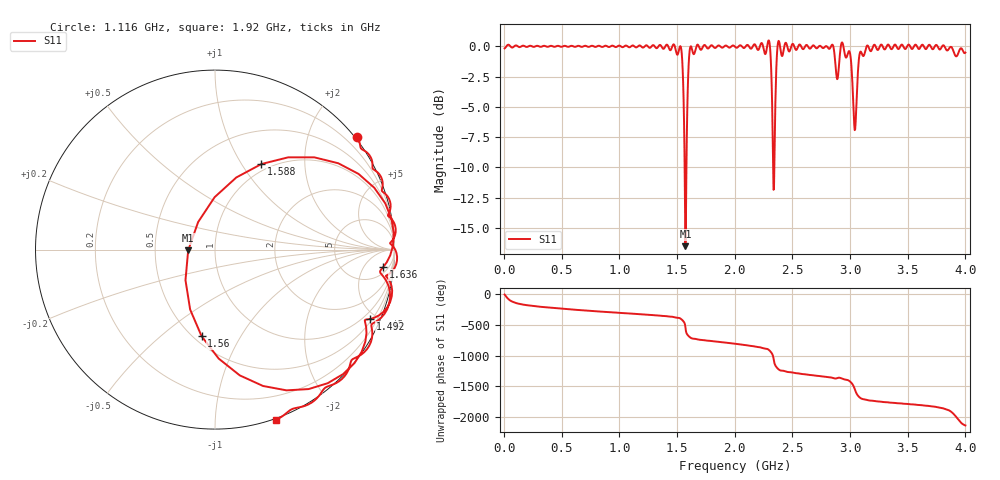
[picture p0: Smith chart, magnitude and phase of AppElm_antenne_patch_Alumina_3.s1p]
! TOUCHSTONE file generated by CST MICROWAVE STUDIO
! Date and time: Thu Jun  9 16:03:38 2022
! Project name: AppElm_antenne_patch_Alumina.cst
! Parameters = {L=30.5; W=41.8; e=0.035; h=1.6; lambda=0.190476; ls=76.5; w0=1.12; w1=0.373; ws=90; y0=14; y1=10}
! Header version: 2018
! Port assignment regex: !\s*Touchstone port\s*([0-9]+)\s*=\s*(CST MWS port|CST DS port)\s*([0-9]+|Zmin|Zmax)\s*\(\"(.*)\"\)(\s*mode\s*([0-9]+))?.*
! Touchstone port assignment:
! Touchstone port 1 = CST MWS port 1 ("")
# GHz S MA R 50
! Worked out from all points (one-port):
!   1000 points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, 4 MHz to 4 GHz, reference 50 ohm
!   lowest |S11| = -16.5 dB at 1.572 GHz (marker M1), VSWR 1.35, Z = 37 - j0.326 ohm
!   |S11| at or under -10 dB: 1.565 GHz to 1.581 GHz (15.61 MHz wide, 0.992 % of centre); 2.33292 GHz to 2.342943 GHz (10.02 MHz wide, 0.429 % of centre)
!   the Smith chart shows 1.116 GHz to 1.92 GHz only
!   S11 on the Smith chart (normalised r, x): 1.116 GHz: -0.04, +2.88; 1.492 GHz: 0.62, -4.61; 1.56 GHz: 0.55, -0.70; 1.588 GHz: 0.91, +1.23; 1.636 GHz: 8, -15; 1.92 GHz: -0.01, -1.42
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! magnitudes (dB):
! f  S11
! 4 MHz  -0.2
! 504 MHz  0.0
! 1.004 GHz  0.0
! 1.116 GHz  0.1
! 1.492 GHz  -0.5
! 1.504 GHz  -0.7
! 1.536 GHz  -0.2
! 1.56 GHz  -6.2
! 1.572 GHz  -16.5
! 1.588 GHz  -5.3
! 1.608 GHz  -0.4
! 1.636 GHz  -0.5
! 1.92 GHz  0.1
! 2.004 GHz  -0.1
! 2.292 GHz  0.5
! 2.304 GHz  0.1
! 2.336 GHz  -11.9
! 2.348 GHz  -6.8
! 2.38 GHz  0.4
! 2.504 GHz  0.2
! 2.84 GHz  0.1
! 2.888 GHz  -2.7
! 2.936 GHz  0.2
! 3.004 GHz  -0.8
! 3.04 GHz  -6.9
! 3.096 GHz  -0.5
! 3.504 GHz  0.1
! 4 GHz  -0.5
